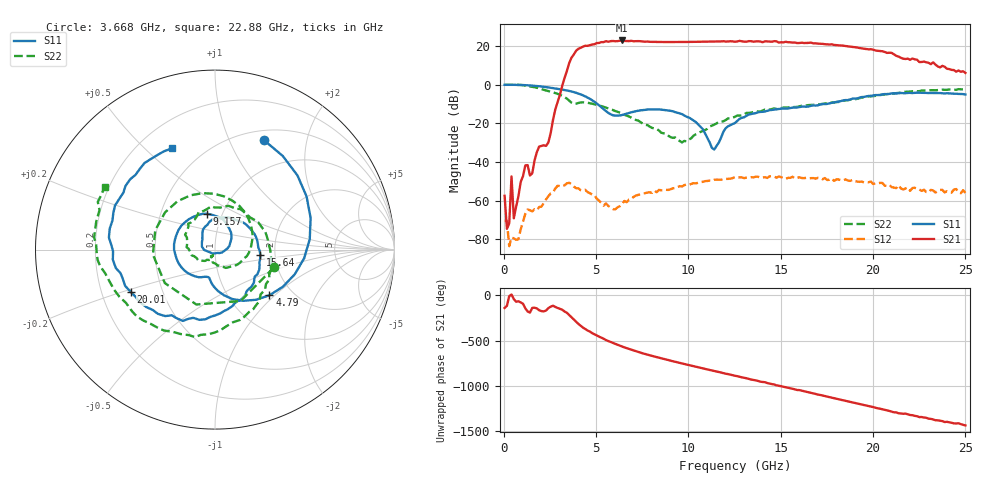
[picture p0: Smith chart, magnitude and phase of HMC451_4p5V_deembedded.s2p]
!Hittite Microwave Corporation
!20 Alpha Road
!Chelmsford, MA 01824
!Tel: 978-250-3343
!Fax: 978-250-3373
!Device: HMC451, 5-20 GHz, Driver Amplifier Die
!Misc: Vcc = 4.5V, data includes two K connectors, Room
# MHZ S MA R 50
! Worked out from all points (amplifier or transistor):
!   201 points, 50 MHz to 25 GHz, reference 50 ohm
!   highest |S21| = 22.9 dB at 6.412 GHz (marker M1)
!   |S21| within 3 dB of that: 4.349 GHz to 18.6 GHz (14.26 GHz wide, 124 % of centre)
!   unconditionally stable (mu >= 1): start of sweep to end of sweep
!   at 4.167 GHz: K = 18.16, MAG = 21.2 dB, |S12| = -54.6 dB
!   at 12.53 GHz: K = 9.30, MAG = 22.4 dB, |S12| = -47.9 dB
!   at 25 GHz: K = 46.84, MAG = 11.4 dB, |S12| = -56.0 dB
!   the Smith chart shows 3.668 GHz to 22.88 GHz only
!   S11 on the Smith chart (normalised r, x): 3.668 GHz: 0.61, +1.35; 4.79 GHz: 1.53, -0.93; 9.157 GHz: 0.85, +0.35; 15.64 GHz: 1.67, -0.11; 20.01 GHz: 0.33, -0.21; 22.88 GHz: 0.34, +0.61
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50  0.993 -3.7  0.001329 -140.9  0.0003071 -129.0  0.994 -4.1
3168.75  0.746 112.2  0.925 -160.6  0.002343 95.4  0.518 97.4
3667.75  0.669 66.2  4.966 116.8  0.002693 55.1  0.343 -16.8
3917.25  0.618 42.0  7.525 68.9  0.002089 30.7  0.323 -108.7
4291.5  0.531 6.2  9.653 2.9  0.001824 19.8  0.35 162.0
4790.5  0.396 -40.0  10.97 -58.3  0.00143 7.7  0.322 102.2
5414.25  0.232 -85.7  12.67 -119.8  0.0007342 1.4  0.267 51.9
5913.25  0.162 -101.1  13.54 -165.7  0.000601 28.2  0.221 18.3
6412.25  0.164 -112.2  13.98 154.8  0.0008176 42.7  0.181 -11.8
7285.5  0.212 -152.7  13.46 95.4  0.001402 41.7  0.118 -59.8
8408.25  0.23 144.5  12.79 31.1  0.001888 27.2  0.065 -101.4
9156.75  0.205 102.3  12.7 -7.0  0.002076 21.6  0.042 -122.4
10778.5  0.071 6.0  13 -85.2  0.003052 1.5  0.063 -116.9
12525  0.102 133.2  12.93 -167.1  0.004041 -32.3  0.148 177.8
14271.5  0.21 48.4  13.21 112.8  0.003853 -68.4  0.223 110.4
15643.75  0.255 -6.8  12.32 49.8  0.004128 -90.7  0.265 53.9
16766.5  0.29 -45.9  11.74 -1.7  0.003824 -112.7  0.3 9.9
18388.25  0.392 -97.8  10.26 -76.9  0.003339 -143.5  0.383 -52.4
20010  0.525 -153.2  8.035 -151.6  0.002667 -176.0  0.508 -112.2
20883.25  0.578 177.5  6.73 166.1  0.002538 164.8  0.576 -143.4
22879.25  0.613 113.2  3.804 90.8  0.001659 142.5  0.707 150.5
25000  0.559 49.6  2.019 6.5  0.001577 111.5  0.75 85.4
